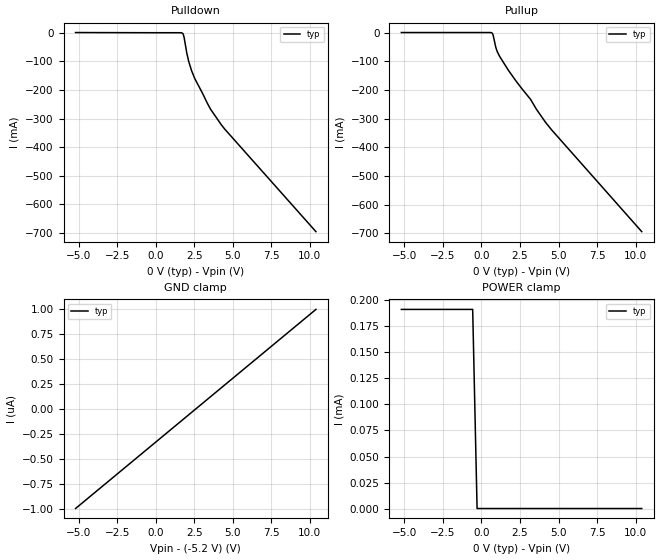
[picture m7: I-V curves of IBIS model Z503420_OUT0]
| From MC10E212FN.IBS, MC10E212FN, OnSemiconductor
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| (C) COPYRIGHT 1993-2000
| MENTOR GRAPHICS CORPORATION
| ICX STANDARD LIBRARY, ICX PROJECT MODELING,
| ICX CUSTOM MODELING, ICX VENDOR MODEL
| ALL RIGHTS RESERVED.
| THE FOLLOWING ARE TRADEMARKS OR SERVICE MARKS OF
| MENTOR GRAPHICS CORPORATION:ICX (R), ICX STANDARD
| LIBRARY(R), ICX PROJECT MODELING(R), ICX CUSTOM
| MODELING(R), qualityIBIS(TM), MODELVIEWER(TM),
| AND MODELEDITOR(TM)
| ALL COPIES OF SOFTWARE, INCLUDING BUT NOT LIMITED TO
| ANY MODIFICATIONS, ENHANCEMENTS OR DERIVATIVE WORKS,
| MUST CONTAIN ALL MENTOR GRAPHICS CORPORATION'S
| NOTICES AND LEGENDS, INCLUDING THOSE EMBEDDED IN
| SOFTWARE AND THOSE AFFIXED TO SOFTWARE MEDIUM
| AND CONTAINER, AS RECEIVED FROM MENTOR GRAPHICS
| CORPORATION.
| Model Application Version 1.89 2/18/99.
[Model] Z503420_OUT0
Model_type Output_ECL
Vref=-2.000V
Rref=50.00ohms
Cref=0.000F
Vmeas=-1.305V
C_comp 8.000pF NA NA
| variable typ   min   max
[Voltage Range] -5.200V NA NA
[POWER Clamp Reference] 0.000V NA NA
[Pullup Reference] 0.000V NA NA
[Pulldown Reference] 0.000V NA NA
[GND Clamp Reference] -5.200V NA NA
[GND Clamp]
-5.2V     -1uA       NA         NA
10.4V     1uA        NA         NA
[Pulldown]
-5.2V     677.5uA    NA         NA
1.584V    28.21uA    NA         NA
1.758V    -2.667mA   NA         NA
1.797V    -6.463mA   NA         NA
1.845V    -16.22mA   NA         NA
2.021V    -71.38mA   NA         NA
2.149V    -101.2mA   NA         NA
2.336V    -133.4mA   NA         NA
2.544V    -160.9mA   NA         NA
3.564V    -267.4mA   NA         NA
4.485V    -336.9mA   NA         NA
10.4V     -695.1mA   NA         NA
[Pullup]
-5.2V     -85.35uA   NA         NA
683.6mV   -1.694mA   NA         NA
757.4mV   -9.424mA   NA         NA
928.4mV   -51.55mA   NA         NA
1.011V    -65.11mA   NA         NA
1.172V    -82.76mA   NA         NA
1.738V    -131mA     NA         NA
2.217V    -167.4mA   NA         NA
3.184V    -232.9mA   NA         NA
3.564V    -267.4mA   NA         NA
4.151V    -312.6mA   NA         NA
10.4V     -694.1mA   NA         NA
[POWER Clamp]
-5.2V     191.4uA    NA         NA
-571.3mV  191.4uA    NA         NA
-285.7mV  0A         NA         NA
10.4V     0A         NA         NA
[Ramp]
| variable typ min max
dV/dt_r 603.4m/311.3p NA NA
dV/dt_f 603.4m/283.5p NA NA
R_load = 500.0Ohms
